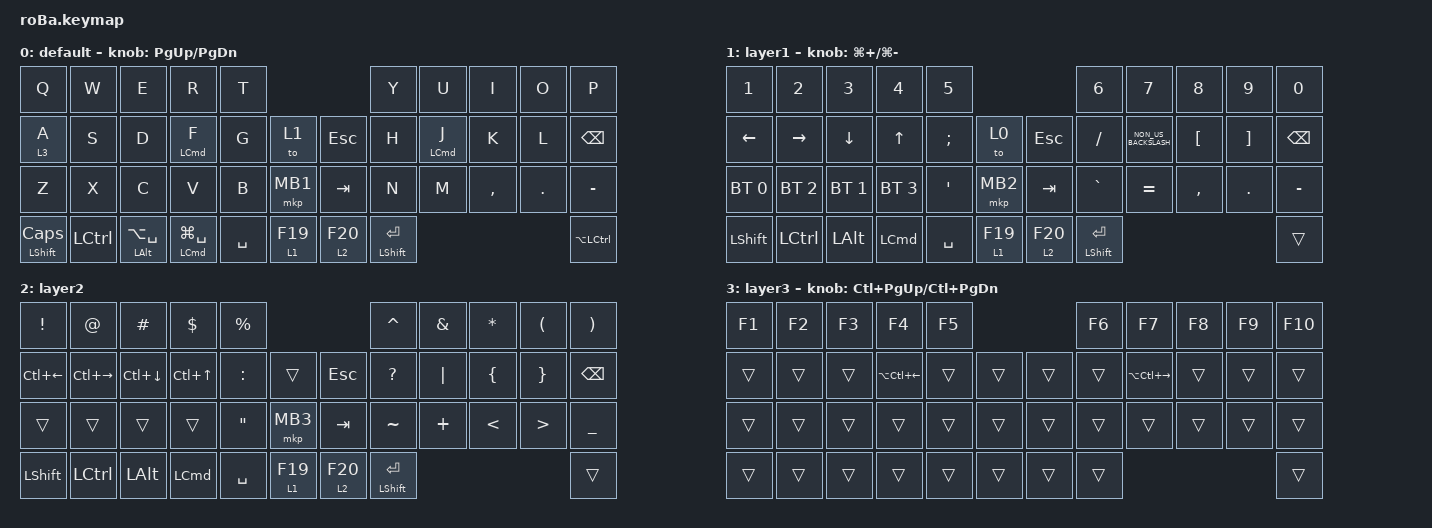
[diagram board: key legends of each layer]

#include <behaviors.dtsi>
#include <dt-bindings/zmk/bt.h>
#include <dt-bindings/zmk/keys.h>
#include <dt-bindings/zmk/pointing.h>

&mt {
    flavor = "balanced";
    quick-tap-ms = <0>;
};

&trackball {
    automouse-layer = <4>;
    scroll-layers = <1>;

    // arrows {
    //     layers = <3>;
    //     bindings =
    //         <&kp RIGHT_ARROW>,
    //         <&kp LEFT_ARROW>,
    //         <&kp UP_ARROW>,
    //         <&kp DOWN_ARROW>;
    //     tick = <10>;
    //     wait-ms = <5>;
    //     tap-ms = <5>;
    // };
};

/ {
    combos {
        compatible = "zmk,combos";

        tab {
            bindings = <&kp TAB>;
            key-positions = <11 12>;
        };

        shift_tab {
            bindings = <&kp LS(TAB)>;
            key-positions = <12 13>;
        };

        muhennkann {
            bindings = <&to_layer_0 INT_MUHENKAN>;
            key-positions = <11 10>;
        };

        double_quotation {
            bindings = <&kp DOUBLE_QUOTES>;
            key-positions = <20 21>;
        };

        eq {
            bindings = <&kp EQUAL>;
            key-positions = <24 25>;
        };
    };

    macros {
        to_layer_0: to_layer_0 {
            compatible = "zmk,behavior-macro-one-param";
            #binding-cells = <1>;
            bindings = <&to 0 &macro_param_1to1 &kp MACRO_PLACEHOLDER>;
            label = "TO_LAYER_0";
        };
    };

    behaviors {
        lt_to_layer_0: lt_to_layer_0 {
            compatible = "zmk,behavior-hold-tap";
            label = "LAYER_TAP_TO_0";
            bindings = <&mo>, <&to_layer_0>;

            #binding-cells = <2>;
            tapping-term-ms = <200>;
        };
    };

    keymap {
        compatible = "zmk,keymap";

        default {
            bindings = <
&kp Q                    &kp W             &kp E                   &kp R                       &kp T                                &kp Y                 &kp U               &kp I      &kp O    &kp P
&lt 3 A                  &kp S             &kp D                   &mt LEFT_COMMAND F          &kp G      &to 1          &kp ESC    &kp H                 &mt LEFT_COMMAND J  &kp K      &kp L    &kp BACKSPACE
&kp Z                    &kp X             &kp C                   &kp V                       &kp B      &mkp MB1       &kp TAB    &kp N                 &kp M               &kp COMMA  &kp DOT  &kp MINUS
&mt LEFT_SHIFT CAPSLOCK  &kp LEFT_CONTROL  &mt LEFT_ALT LA(SPACE)  &mt LEFT_COMMAND LG(SPACE)  &kp SPACE  &lt 1 F19      &lt 2 F20  &mt LEFT_SHIFT ENTER                                          &kp LA(LEFT_CONTROL)
            >;

            sensor-bindings = <&inc_dec_kp PG_UP PAGE_DOWN>;
        };

        layer1 {
            bindings = <
&kp NUMBER_1    &kp NUMBER_2      &kp NUMBER_3    &kp NUMBER_4      &kp NUMBER_5                             &kp NUMBER_6          &kp NUMBER_7          &kp NUMBER_8      &kp NUMBER_9       &kp NUMBER_0
&kp LEFT_ARROW  &kp RIGHT_ARROW   &kp DOWN_ARROW  &kp UP_ARROW      &kp SEMICOLON  &to 0          &kp ESC    &kp SLASH             &kp NON_US_BACKSLASH  &kp LEFT_BRACKET  &kp RIGHT_BRACKET  &kp BACKSPACE
&bt BT_SEL 0    &bt BT_SEL 2      &bt BT_SEL 1    &bt BT_SEL 3      &kp SQT        &mkp MB2       &kp TAB    &kp GRAVE             &kp EQUAL             &kp COMMA         &kp PERIOD         &kp MINUS
&kp LEFT_SHIFT  &kp LEFT_CONTROL  &kp LEFT_ALT    &kp LEFT_COMMAND  &kp SPACE      &lt 1 F19      &lt 2 F20  &mt LEFT_SHIFT ENTER                                                             &trans
            >;

            sensor-bindings = <&inc_dec_kp LG(PLUS) LG(MINUS)>;
        };

        layer2 {
            bindings = <
&kp EXCLAMATION     &kp AT_SIGN          &kp HASH            &kp DOLLAR        &kp PERCENT                                  &kp CARET             &kp AMPERSAND  &kp ASTERISK    &kp LEFT_PARENTHESIS  &kp RIGHT_PARENTHESIS
&kp LC(LEFT_ARROW)  &kp LC(RIGHT_ARROW)  &kp LC(DOWN_ARROW)  &kp LC(UP_ARROW)  &kp COLON          &trans         &kp ESC    &kp QUESTION          &kp PIPE       &kp LEFT_BRACE  &kp RIGHT_BRACE       &kp BACKSPACE
&trans              &trans               &trans              &trans            &kp DOUBLE_QUOTES  &mkp MB3       &kp TAB    &kp TILDE             &kp PLUS       &kp LESS_THAN   &kp GREATER_THAN      &kp UNDERSCORE
&kp LEFT_SHIFT      &kp LEFT_CONTROL     &kp LEFT_ALT        &kp LEFT_COMMAND  &kp SPACE          &lt 1 F19      &lt 2 F20  &mt LEFT_SHIFT ENTER                                                       &trans
            >;
        };

        layer3 {
            bindings = <
&kp F1  &kp F2  &kp F3  &kp F4                  &kp F5                      &kp F6  &kp F7                   &kp F8  &kp F9  &kp F10
&trans  &trans  &trans  &kp LA(LC(LEFT_ARROW))  &trans  &trans      &trans  &trans  &kp LA(LC(RIGHT_ARROW))  &trans  &trans  &trans
&trans  &trans  &trans  &trans                  &trans  &trans      &trans  &trans  &trans                   &trans  &trans  &trans
&trans  &trans  &trans  &trans                  &trans  &trans      &trans  &trans                                           &trans
            >;

            sensor-bindings = <&inc_dec_kp LC(PAGE_UP) LC(PAGE_DOWN)>;
        };
    };
};
